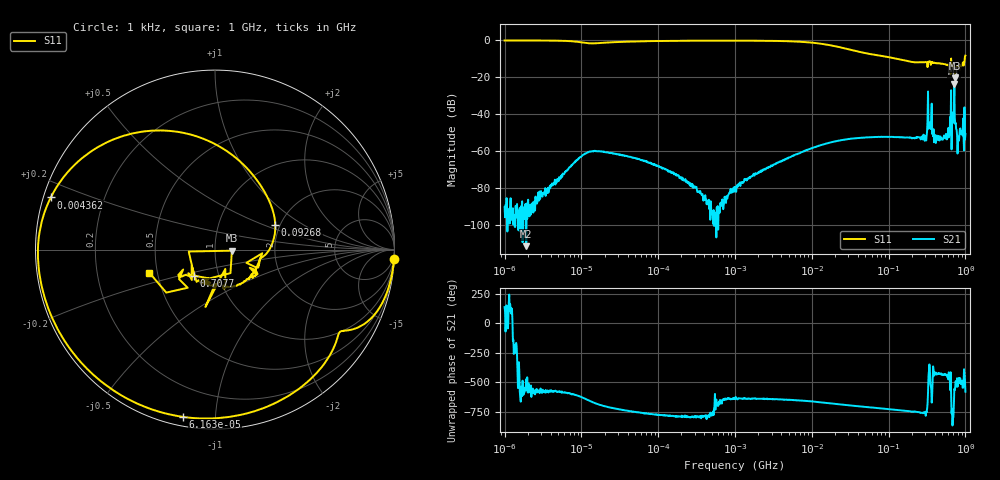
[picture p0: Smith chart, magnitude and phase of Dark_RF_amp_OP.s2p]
! ListType=Log
# MHZ S RI R 50
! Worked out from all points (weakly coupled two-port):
!   1000 points, 1 kHz to 1 GHz, reference 50 ohm
!   highest |S21| = -23.49 dB at 717.6 MHz (marker M1); lowest = -111.4 dB at 1.915 kHz (marker M2)
!   lowest |S11| = -20.5 dB at 727.5 MHz (marker M3), VSWR 1.21, Z = 60.4 - j0.737 ohm
!   |S11| at or under -10 dB: 131.1 MHz to 651.1 MHz (520.1 MHz wide, 133 % of centre); 651.8 MHz to 980.6 MHz (328.8 MHz wide, 40.3 % of centre)
!   S12 and S22 are empty: the file has one direction only
!   S11 on the Smith chart (normalised r, x): 1 kHz: 1, -38; 61.63 kHz: 0.04, -0.82; 4.362 MHz: 0.02, +0.15; 92.68 MHz: 1.89, +0.60; 707.7 MHz: 0.76, -0.23; 1 GHz: 0.45, -0.14
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0.001  0.9974 -0.052  -2.25e-05 2.09e-05  0 0  0 0
0.0019155  0.9918 -0.1009  -1e-06 -2.5e-06  0 0  0 0
0.003772  0.9715 -0.1996  -7.49e-05 5.34e-05  0 0  0 0
0.0100694  0.7672 -0.4446  -4.56e-05 0.00074  0 0  0 0
0.0257876  0.5372 -0.717  0.00086 2.84e-05  0 0  0 0
0.0616297  -0.1803 -0.9317  0.000452 -0.000361  0 0  0 0
0.1013925  -0.5821 -0.7733  0.00022 -0.00032  0 0  0 0
0.3065395  -0.9392 -0.2985  4.17e-05 -9.47e-05  0 0  0 0
1.006939  -0.9867 -0.0232  2.31e-05 0.000104  0 0  0 0
4.361538  -0.915 0.2904  0.000179 0.000543  0 0  0 0
10.13925  -0.6596 0.567  0.000631 0.00104  0 0  0 0
92.67593  0.3357 0.1384  0.00244 -0.000194  0 0  0 0
100.6939  0.3351 0.1067  0.00243 -0.000271  0 0  0 0
292.0556  0.2414 -0.0882  0.00219 -0.00155  0 0  0 0
340.0412  0.2371 -0.1363  0.00589 0.00125  0 0  0 0
395.911  0.1919 -0.1589  0.00146 -0.00203  0 0  0 0
514.8867  0.1095 -0.2031  0.000437 -0.00215  0 0  0 0
707.7011  -0.1157 -0.1453  0.00801 0.00483  0 0  0 0
717.5561  -0.1464 -0.0107  -0.0648 0.0168  0 0  0 0
727.5484  0.0941 -0.00605  -0.00701 0.00339  0 0  0 0
812.6619  -0.0915 -0.1701  -0.001 -0.00227  0 0  0 0
1000  -0.3664 -0.1278  -0.0023 0.00184  0 0  0 0
